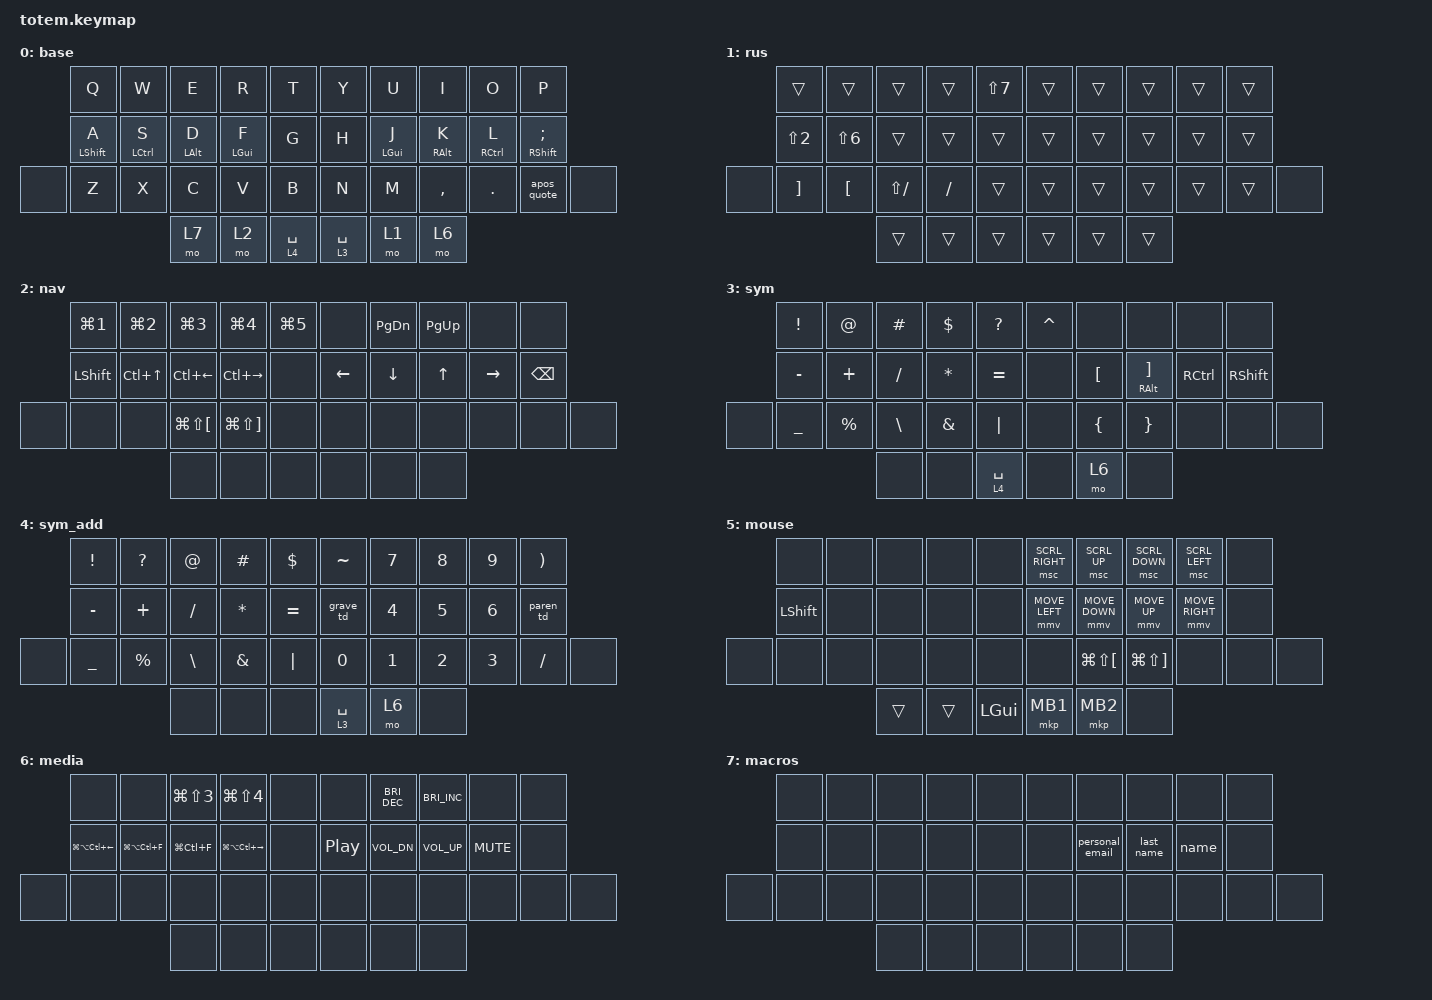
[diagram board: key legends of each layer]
//
//                                                        ▀▀▀▀▀     ▀▀▀▀▀          ▀▀█▀▀
//                                                        ▄▀▀▀▄  ▄  ▄▀▀▀▄  ▄  ▄▀▀▀▄  █  ▄▀▀▀▄
//                                                        █   █  █  █   █  █  █   █  █  █   █
//                                                         ▀▀▀   █   ▀▀▀   █   ▀▀▀   ▀   ▀▀▀
//                                                               █      ▄▄▄█▄▄▄    █   █
//                                                               ▀      █  █  █     █▄█
//                                                             ▀▀▀▀▀    █  █  █      ▀
//                                                                      ▀  ▀  ▀
//
// ▄▄▄▄▄▄▄▄▄▄▄▄▄▄▄▄▄▄▄▄▄▄▄▄▄▄▄▄▄▄▄▄▄▄▄▄▄▄▄▄▄▄▄▄▄▄▄▄▄▄▄▄▄▄▄▄▄▄▄▄▄▄▄▄▄▄▄▄▄▄▄▄▄▄▄▄▄▄▄▄▄▄▄▄▄▄▄▄▄▄▄▄▄▄▄▄▄▄▄▄▄▄▄▄▄▄▄▄▄▄▄▄▄▄▄▄▄▄▄▄▄▄▄▄▄▄▄▄▄▄▄▄▄▄▄▄▄▄▄▄▄▄▄▄▄▄▄▄▄

#define ZMK_POINTING_DEFAULT_MOVE_VAL 1800
#define ZMK_POINTING_DEFAULT_SCRL_VAL 45

#include <behaviors.dtsi>
#include <dt-bindings/zmk/bt.h>
#include <dt-bindings/zmk/keys.h>
#include <dt-bindings/zmk/pointing.h>

&mmv {
    time-to-max-speed-ms = <750>;
    acceleration-exponent = <1>;
};

&msc {
    time-to-max-speed-ms = <1800>;
    acceleration-exponent = <1>;
};

&mt {
    flavor = "tap-preferred";
    tapping-term-ms = <200>;
};

/ {
    behaviors {
        hml: home_row_mod_left {
            compatible = "zmk,behavior-hold-tap";
            #binding-cells = <2>;
            flavor = "balanced";
            require-prior-idle-ms = <150>;
            tapping-term-ms = <280>;
            quick-tap-ms = <175>;
            bindings = <&kp>, <&kp>;

            hold-trigger-key-positions = <5 15 26 16 6 7 17 28 27 8 18 29 9 19 30>;
            hold-trigger-on-release;
        };

        hmr: home_row_mod_right {
            compatible = "zmk,behavior-hold-tap";
            #binding-cells = <2>;
            flavor = "balanced";
            require-prior-idle-ms = <150>;
            tapping-term-ms = <280>;
            quick-tap-ms = <175>;
            bindings = <&kp>, <&kp>;

            hold-trigger-key-positions = <0 0 1 4 10 11 12 13 14 21 22 23 24 25 2 3>;
            hold-trigger-on-release;
        };

        eq_td: eq_td {
            compatible = "zmk,behavior-tap-dance";
            label = "EQ_TD";
            #binding-cells = <0>;
            tapping-term-ms = <300>;
            bindings = <&kp EQUAL>, <&eq>;
        };

        minus_td: minus_td {
            compatible = "zmk,behavior-tap-dance";
            label = "MINUS_TD";
            #binding-cells = <0>;
            tapping-term-ms = <300>;
            bindings = <&mt LEFT_SHIFT MINUS>, <&minus>;
        };

        plus_td: plus_td {
            compatible = "zmk,behavior-tap-dance";
            label = "PLUS_TD";
            #binding-cells = <0>;
            tapping-term-ms = <300>;
            bindings = <&kp PLUS>, <&plus>;
        };

        div_td: div_td {
            compatible = "zmk,behavior-tap-dance";
            label = "DIV_TD";
            #binding-cells = <0>;
            tapping-term-ms = <300>;
            bindings = <&kp SLASH>, <&div>;
        };

        mult_td: mult_td {
            compatible = "zmk,behavior-tap-dance";
            label = "MULT_TD";
            #binding-cells = <0>;
            tapping-term-ms = <300>;
            bindings = <&kp ASTRK>, <&mult>;
        };

        paren_td: paren_td {
            compatible = "zmk,behavior-tap-dance";
            label = "PAREN_TD";
            #binding-cells = <0>;
            tapping-term-ms = <300>;
            bindings = <&kp LEFT_PARENTHESIS>, <&paren>;
        };

        bracket_td: bracket_td {
            compatible = "zmk,behavior-tap-dance";
            label = "BRACKET_TD";
            #binding-cells = <0>;
            tapping-term-ms = <300>;
            bindings = <&kp LEFT_BRACKET>, <&brackets>;
        };

        curly_td: curly_td {
            compatible = "zmk,behavior-tap-dance";
            label = "CURLY_TD";
            #binding-cells = <0>;
            tapping-term-ms = <300>;
            bindings = <&kp LEFT_BRACE>, <&curly_braces>;
        };

        apos_quote: apos_quote {
            compatible = "zmk,behavior-mod-morph";
            label = "APOS_QUOTE";
            bindings = <&apos_td>, <&kp DOUBLE_QUOTES>;

            #binding-cells = <0>;
            mods = <(MOD_LSFT|MOD_RSFT)>;
        };

        apos_td: apos_td {
            compatible = "zmk,behavior-tap-dance";
            label = "APOS_TD";
            #binding-cells = <0>;
            tapping-term-ms = <300>;
            bindings = <&apos_single>, <&apos_pair>, <&quote_pair>;
        };

        grave_td: grave_td {
            compatible = "zmk,behavior-tap-dance";
            label = "GRAVE_TD";
            #binding-cells = <0>;
            tapping-term-ms = <300>;
            bindings = <&kp GRAVE>, <&backtick_pair>, <&triple_grave>;
        };

        pipe_td: pipe_td {
            compatible = "zmk,behavior-tap-dance";
            label = "PIPE_TD";
            #binding-cells = <0>;
            tapping-term-ms = <300>;
            bindings = <&kp PIPE>, <&pipe>, <&double_or>;
        };

        amp_td: amp_td {
            compatible = "zmk,behavior-tap-dance";
            label = "AMP_TD";
            #binding-cells = <0>;
            tapping-term-ms = <300>;
            bindings = <&kp AMPS>, <&amp>, <&and>;
        };

        tilde_td: tilde_td {
            compatible = "zmk,behavior-tap-dance";
            label = "TILDE_TD";
            #binding-cells = <0>;
            tapping-term-ms = <300>;
            bindings = <&kp TILDE>, <&tilde_slash>, <&tilde_slash_dot>;
        };
    };
};

/ {
    combos {
        compatible = "zmk,combos";

        left_esc {
            bindings = <&kp ESCAPE>;
            key-positions = <0 1>;
        };

        tab {
            bindings = <&kp TAB>;
            key-positions = <21 22>;
        };

        enter {
            bindings = <&kp RET>;
            key-positions = <16 17 18>;
            timeout-ms = <100>;
        };

        language_switch {
            bindings = <&kp LC(SPACE)>;
            key-positions = <35 34>;
            timeout-ms = <300>;
            layers = <0 2>;
        };

        caps_word {
            bindings = <&caps_word>;
            key-positions = <36 33>;
            timeout-ms = <100>;
        };

        mouse_layer {
            bindings = <&mo 5>;
            key-positions = <12 13 11>;
            slow-release;
            layers = <0 2>;
        };

        backspace {
            bindings = <&kp BSPC>;
            key-positions = <18 19>;
            timeout-ms = <100>;
        };

        l_word {
            bindings = <&kp LA(LEFT)>;
            key-positions = <17 16>;
            timeout-ms = <100>;
            layers = <2>;
        };

        r_word {
            bindings = <&kp LA(RIGHT)>;
            key-positions = <17 18>;
            layers = <2>;
        };

        del_word {
            bindings = <&kp LA(BACKSPACE)>;
            key-positions = <35 16 17>;
            layers = <0 2>;
        };

        del_word_fw {
            bindings = <&kp LA(DELETE)>;
            key-positions = <17 18 35>;
            layers = <0 2>;
        };

        bt_clear {
            bindings = <&bt BT_CLR>;
            key-positions = <34 20>;
            layers = <6>;
        };

        bt_0 {
            bindings = <&bt BT_SEL 0>;
            key-positions = <34 21>;
            layers = <6>;
        };

        bt_1 {
            bindings = <&bt BT_SEL 1>;
            key-positions = <34 10>;
            layers = <6>;
        };

        bt_2 {
            bindings = <&bt BT_SEL 2>;
            key-positions = <34 0>;
            layers = <6>;
        };

        reset {
            bindings = <&sys_reset>;
            key-positions = <34 0 10 21>;
            layers = <6>;
        };
    };

    macros {
        personal_email: personal_email {
            compatible = "zmk,behavior-macro";
            #binding-cells = <0>;
            bindings = <&kp M &kp U &kp R &kp Z &kp N4 &kp N2 &kp AT &kp G &kp M &kp A &kp I &kp L &kp DOT &kp C &kp O &kp M>;
            label = "PERSONAL_EMAIL";
        };

        work_email: work_email {
            compatible = "zmk,behavior-macro";
            #binding-cells = <0>;
            bindings = <&kp I &kp L &kp I &kp A &kp DOT &kp M &kp U &kp R &kp Z &kp I &kp N &kp O &kp V &kp AT &kp R &kp E &kp V &kp O &kp L &kp U &kp T &kp DOT &kp C &kp O &kp M>;
            label = "WORK_EMAIL";
        };

        thinking_face: thinking_face {
            compatible = "zmk,behavior-macro";
            #binding-cells = <0>;
            bindings = <&kp COLON &kp T &kp H &kp I &kp N &kp K &kp I &kp N &kp G &kp UNDER &kp F &kp A &kp C &kp E &kp COLON>;
            label = "THINKING_FACE";
        };

        name: name {
            compatible = "zmk,behavior-macro";
            #binding-cells = <0>;
            bindings = <&kp LS(I) &kp L &kp I &kp A>;
            label = "NAME";
        };

        last_name: last_name {
            compatible = "zmk,behavior-macro";
            #binding-cells = <0>;
            bindings = <&kp LS(M) &kp U &kp R &kp Z &kp I &kp N &kp O &kp V>;
            label = "LAST_NAME";
        };

        eq: eq {
            compatible = "zmk,behavior-macro";
            #binding-cells = <0>;
            bindings = <&kp SPACE &kp EQUAL &kp SPACE>;
            label = "EQ";
        };

        mult: mult {
            compatible = "zmk,behavior-macro";
            #binding-cells = <0>;
            bindings = <&kp SPACE &kp STAR &kp SPACE>;
            label = "MULT";
        };

        div: div {
            compatible = "zmk,behavior-macro";
            #binding-cells = <0>;
            bindings = <&kp SPACE &kp FSLH &kp SPACE>;
            label = "DIV";
        };

        minus: minus {
            compatible = "zmk,behavior-macro";
            #binding-cells = <0>;
            bindings = <&kp SPACE &kp MINUS &kp SPACE>;
            label = "MINUS";
        };

        plus: plus {
            compatible = "zmk,behavior-macro";
            #binding-cells = <0>;
            bindings = <&kp SPACE &kp PLUS &kp SPACE>;
            label = "PLUS";
        };

        paren: paren {
            compatible = "zmk,behavior-macro";
            #binding-cells = <0>;
            bindings = <&kp LPAR &kp RPAR &kp LEFT>;
            label = "PAREN";
        };

        brackets: brackets {
            compatible = "zmk,behavior-macro";
            #binding-cells = <0>;
            bindings = <&kp LBKT &kp RBKT &kp LEFT>;
            label = "BRACKETS";
        };

        curly_braces: curly_braces {
            compatible = "zmk,behavior-macro";
            #binding-cells = <0>;
            bindings = <&kp LBRC &kp RBRC &kp LEFT>;
            label = "CURLY_BRACES";
        };

        apos_single: apos_single {
            compatible = "zmk,behavior-macro";
            #binding-cells = <0>;
            bindings = <&kp SQT>;
            label = "APOS_SINGLE";
        };

        apos_pair: apos_pair {
            compatible = "zmk,behavior-macro";
            #binding-cells = <0>;
            bindings = <&kp SQT &kp SQT &kp LEFT>;
            label = "APOS_PAIR";
        };

        quote_pair: quote_pair {
            compatible = "zmk,behavior-macro";
            #binding-cells = <0>;
            bindings = <&kp DOUBLE_QUOTES &kp DOUBLE_QUOTES &kp LEFT>;
            label = "QUOTE_PAIR";
        };

        backtick_pair: backtick_pair {
            compatible = "zmk,behavior-macro";
            #binding-cells = <0>;
            bindings = <&kp GRAVE &kp GRAVE &kp LEFT>;
            label = "BACKTICK_PAIR";
        };

        triple_grave: triple_grave {
            compatible = "zmk,behavior-macro";
            #binding-cells = <0>;
            bindings = <&kp GRAVE &kp GRAVE &kp GRAVE &kp LS(RET) &kp LS(RET) &kp GRAVE &kp GRAVE &kp GRAVE &kp UP_ARROW>;
            label = "TRIPLE_GRAVE";
        };

        pipe: pipe {
            compatible = "zmk,behavior-macro";
            #binding-cells = <0>;
            bindings = <&kp SPACE &kp PIPE &kp SPACE>;
            label = "PIPE";
        };

        and: and {
            compatible = "zmk,behavior-macro";
            #binding-cells = <0>;
            bindings = <&kp SPACE &kp A &kp N &kp D &kp SPACE>;
            label = "AND";
        };

        amp: amp {
            compatible = "zmk,behavior-macro";
            #binding-cells = <0>;
            bindings = <&kp SPACE &kp AMPS &kp AMPS &kp SPACE>;
            label = "AMP";
        };

        tilde_slash: tilde_slash {
            compatible = "zmk,behavior-macro";
            #binding-cells = <0>;
            bindings = <&kp TILDE &kp FSLH>;
            label = "TILDE_SLASH";
        };

        tilde_slash_dot: tilde_slash_dot {
            compatible = "zmk,behavior-macro";
            #binding-cells = <0>;
            bindings = <&kp TILDE &kp FSLH &kp DOT>;
            label = "TILDE_SLASH_DOT";
        };

        double_or: double_or {
            compatible = "zmk,behavior-macro";
            #binding-cells = <0>;
            bindings = <&kp SPACE &kp PIPE &kp PIPE &kp SPACE>;
            label = "DOUBLE_OR";
        };
    };

    keymap {
        compatible = "zmk,keymap";

        base {
            bindings = <
       &kp Q              &kp W         &kp E            &kp R            &kp T          &kp Y        &kp U            &kp I             &kp O         &kp P
       &hml LEFT_SHIFT A  &hml LCTRL S  &hml LEFT_ALT D  &hml LEFT_GUI F  &kp G          &kp H        &hmr LEFT_GUI J  &hmr RIGHT_ALT K  &hmr RCTRL L  &hmr RIGHT_SHIFT SEMI
&none  &kp Z              &kp X         &kp C            &kp V            &kp B          &kp N        &kp M            &kp COMMA         &kp DOT       &apos_quote  &none
                                        &mo 7            &mo 2            &lt 4 SPACE    &lt 3 SPACE  &mo 1            &mo 6
            >;
        };

        rus {
            bindings = <
       &trans             &trans            &trans         &trans     &kp LS(N7)    &trans  &trans  &trans  &trans  &trans
       &kp LS(N2)         &kp LS(N6)        &trans         &trans     &trans        &trans  &trans  &trans  &trans  &trans
&none  &kp RIGHT_BRACKET  &kp LEFT_BRACKET  &kp LS(SLASH)  &kp SLASH  &trans        &trans  &trans  &trans  &trans  &trans  &none
                                            &trans         &trans     &trans        &trans  &trans  &trans
            >;
        };

        nav {
            bindings = <
       &kp LG(N1)      &kp LG(N2)  &kp LG(N3)                &kp LG(N4)                 &kp LG(N5)    &none     &kp PAGE_DOWN  &kp PAGE_UP  &none      &none
       &kp LEFT_SHIFT  &kp LC(UP)  &kp LC(LEFT)              &kp LC(RIGHT)              &none         &kp LEFT  &kp DOWN       &kp UP       &kp RIGHT  &kp BSPC
&none  &none           &none       &kp LG(LS(LEFT_BRACKET))  &kp LG(LS(RIGHT_BRACKET))  &none         &none     &none          &none        &none      &none  &none
                                   &none                     &none                      &none         &none     &none          &none
            >;
        };

        sym {
            bindings = <
       &kp EXCL   &kp AT       &kp HASH       &kp DOLLAR  &kp QUESTION    &kp CARET  &none             &none                        &none      &none
       &kp MINUS  &kp PLUS     &kp SLASH      &kp ASTRK   &kp EQUAL       &none      &kp LEFT_BRACKET  &mt RIGHT_ALT RIGHT_BRACKET  &kp RCTRL  &kp RIGHT_SHIFT
&none  &kp UNDER  &kp PERCENT  &kp BACKSLASH  &kp AMPS    &kp PIPE        &none      &kp LEFT_BRACE    &kp RIGHT_BRACE              &none      &none  &none
                               &none          &none       &lt 4 SPACE     &none      &mo 6             &none
            >;
        };

        sym_add {
            bindings = <
       &kp EXCL   &kp QUESTION  &kp AT         &kp HASH   &kp DOLLAR    &kp TILDE    &kp N7  &kp N8  &kp N9  &kp RPAR
       &kp MINUS  &kp PLUS      &kp SLASH      &kp ASTRK  &kp EQUAL     &grave_td    &kp N4  &kp N5  &kp N6  &paren_td
&none  &kp UNDER  &kp PERCENT   &kp BACKSLASH  &kp AMPS   &kp PIPE      &kp N0       &kp N1  &kp N2  &kp N3  &kp SLASH  &none
                                &none          &none      &none         &lt 3 SPACE  &mo 6   &none
            >;
        };

        mouse {
            bindings = <
       &none           &none  &none   &none   &none           &msc SCRL_RIGHT  &msc SCRL_UP              &msc SCRL_DOWN             &msc SCRL_LEFT   &none
       &kp LEFT_SHIFT  &none  &none   &none   &none           &mmv MOVE_LEFT   &mmv MOVE_DOWN            &mmv MOVE_UP               &mmv MOVE_RIGHT  &none
&none  &none           &none  &none   &none   &none           &none            &kp LG(LS(LEFT_BRACKET))  &kp LG(LS(RIGHT_BRACKET))  &none            &none  &none
                              &trans  &trans  &kp LEFT_GUI    &mkp MB1         &mkp MB2                  &none
            >;
        };

        media {
            bindings = <
       &none                 &none              &kp LG(LS(N3))  &kp LG(LS(N4))         &none    &none             &kp C_BRIGHTNESS_DEC  &kp C_BRIGHTNESS_INC  &none       &none
       &kp LG(LA(LC(LEFT)))  &kp LG(LA(LC(F)))  &kp LG(LC(F))   &kp LG(LA(LC(RIGHT)))  &none    &kp C_PLAY_PAUSE  &kp C_VOL_DN          &kp C_VOLUME_UP       &kp K_MUTE  &none
&none  &none                 &none              &none           &none                  &none    &none             &none                 &none                 &none       &none  &none
                                                &none           &none                  &none    &none             &none                 &none
            >;
        };

        macros {
            bindings = <
       &none  &none  &none  &none  &none    &none  &none            &none       &none  &none
       &none  &none  &none  &none  &none    &none  &personal_email  &last_name  &name  &none
&none  &none  &none  &none  &none  &none    &none  &none            &none       &none  &none  &none
                     &none  &none  &none    &none  &none            &none
            >;
        };

    };
};
